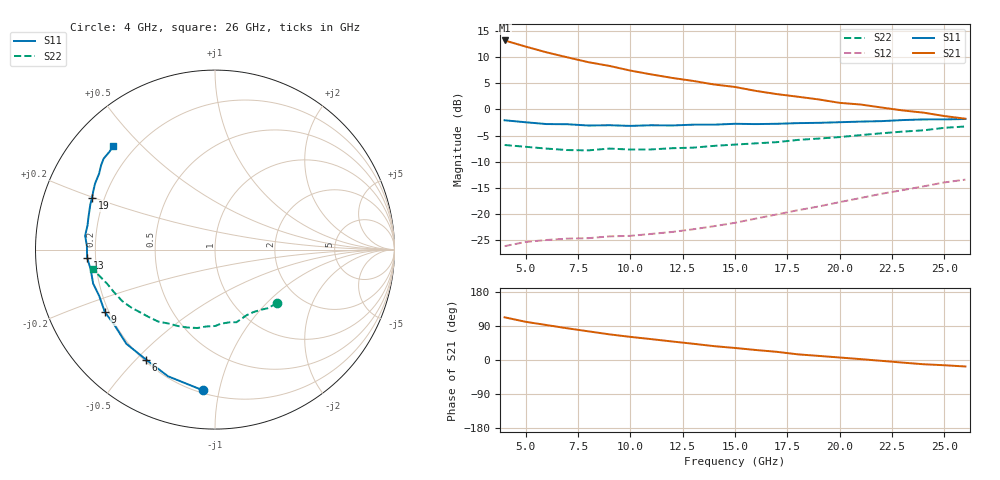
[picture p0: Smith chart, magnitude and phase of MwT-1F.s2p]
# GHz S DB R 50
!MicroWave Technology MwT-1F
!12 GHz High Gain GaAs FET
!Vds=6V Ids=0.7
!Freq  S11  S21  S12  S22
!GHz  dB  Deg  dB  Deg  dB  Deg  dB  Deg
! 1  -0.765  -29.260  16.302  159.098  -34.610  75.507  -5.350  -12.676
! 2  -1.191  -55.072  15.454  140.658  -29.750  63.008  -5.818  -24.083
! 3  -1.668  -77.151  14.367  125.362  -27.205  53.987  -6.324  -33.072
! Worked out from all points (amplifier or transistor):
!   23 points, 4 GHz to 26 GHz, reference 50 ohm
!   highest |S21| = 13.1 dB at 4 GHz (marker M1)
!   |S21| within 3 dB of that: start of sweep to 6.767 GHz
!   unconditionally stable (mu >= 1): 7.178 GHz to 17.69 GHz
!   at 7 GHz: K = 0.97, MSG = 17.3 dB, |S12| = -24.7 dB
!   at 15 GHz: K = 1.13, MAG = 10.7 dB, |S12| = -21.7 dB
!   at 26 GHz: K = 0.42, MSG = 5.8 dB, |S12| = -13.4 dB
!   S11 on the Smith chart (normalised r, x): 4 GHz: 0.22, -0.89; 6 GHz: 0.21, -0.54; 9 GHz: 0.18, -0.25; 13 GHz: 0.17, -0.03; 19 GHz: 0.15, +0.20; 26 GHz: 0.12, +0.41
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4  -2.09 -95.1  13.14 112.6  -26.11 48.0  -6.81 -40.8
5  -2.47 -110.3  11.98 100.8  -25.31 43.5  -7.15 -48.1
6  -2.81 -122.0  10.87 92.2  -24.93 41.8  -7.49 -52.5
7  -2.85 -133.2  9.92 83.6  -24.67 40.7  -7.78 -58.6
8  -3.09 -142.8  8.99 75.7  -24.59 40.6  -7.83 -64.4
9  -3.03 -150.5  8.29 67.7  -24.25 41.2  -7.49 -73.6
10  -3.16 -158.3  7.40 61.0  -24.15 43.2  -7.67 -78.0
11  -3.04 -164.5  6.67 55.1  -23.78 45.6  -7.66 -85.6
12  -3.08 -170.9  5.99 48.8  -23.40 48.1  -7.42 -89.8
13  -2.93 -176.4  5.42 42.9  -22.89 51.2  -7.31 -96.4
14  -2.93 178.5  4.75 36.5  -22.30 53.2  -6.97 -102.8
15  -2.76 173.9  4.27 31.7  -21.66 56.2  -6.73 -109.8
16  -2.82 169.2  3.51 26.4  -20.84 57.4  -6.49 -116.0
18  -2.63 160.2  2.41 14.9  -19.25 59.6  -5.84 -128.3
19  -2.58 157.1  1.89 10.8  -18.53 59.3  -5.58 -134.3
20  -2.46 154.0  1.24 6.6  -17.70 60.3  -5.29 -139.9
21  -2.34 150.9  0.92 2.3  -16.91 58.2  -4.92 -145.4
22  -2.25 146.8  0.34 -2.2  -16.11 57.0  -4.57 -150.9
23  -2.05 143.5  -0.21 -6.9  -15.42 55.8  -4.26 -157.7
24  -1.93 140.8  -0.63 -11.2  -14.70 54.5  -4.00 -162.5
25  -1.92 137.4  -1.28 -13.8  -13.94 52.0  -3.53 -168.0
26  -1.85 134.5  -1.79 -17.1  -13.41 50.1  -3.27 -171.0
